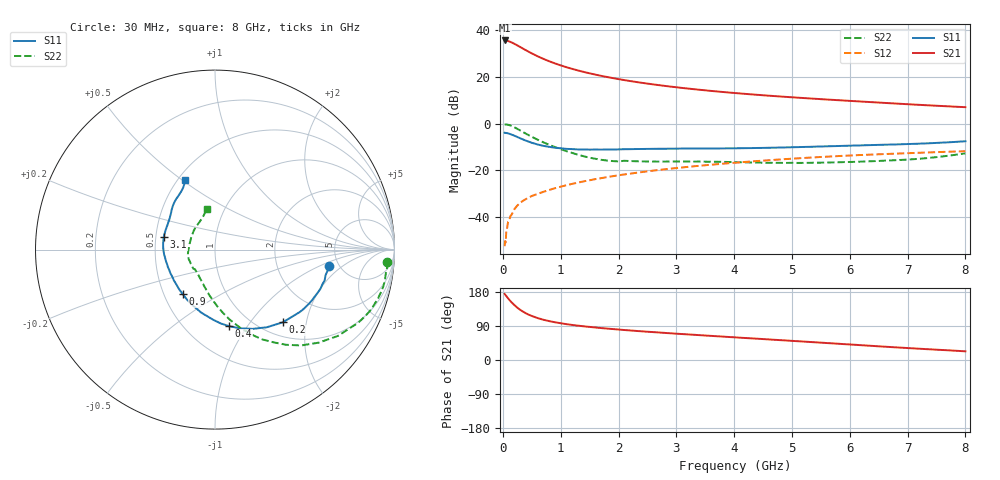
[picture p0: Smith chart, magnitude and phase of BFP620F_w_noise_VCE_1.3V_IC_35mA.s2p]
! Infineon Technologies  Discrete & RF Semiconductors
! BFP620F
! VCE =  1.3 V,  IC =  35 mA
! Common Emitter S-Parameters:  Dec 2014
# GHz  S  MA  R  50
!  f  S11  S21  S12  S22
! GHz  MAG  ANG  MAG  ANG  MAG  ANG  MAG  ANG
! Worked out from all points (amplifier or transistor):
!   95 points, 30 MHz to 8 GHz, reference 50 ohm
!   highest |S21| = 35.6 dB at 30 MHz (marker M1)
!   |S21| within 3 dB of that: start of sweep to 313.9 MHz
!   unconditionally stable (mu >= 1): 2.305 GHz to end of sweep
!   at 300 MHz: K = 0.42, MSG = 33.3 dB, |S12| = -33.9 dB
!   at 3.3 GHz: K = 1.02, MAG = 15.6 dB, |S12| = -18.2 dB
!   at 8 GHz: K = 1.05, MAG = 8.0 dB, |S12| = -11.8 dB
!   lowest NFmin = 1.25 dB at 450 MHz
!   S11 on the Smith chart (normalised r, x): 30 MHz: 4.17, -1.26; 200 MHz: 1.26, -1.47; 400 MHz: 0.79, -0.83; 900 MHz: 0.62, -0.34; 3.1 GHz: 0.55, +0.08; 8 GHz: 0.54, +0.51
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0.03  0.6413 -8.0  60.45 174.4  0.0024 92.9  0.9607 -4.1
0.07  0.629 -17.8  59.7 166.6  0.0055 84.7  0.9601 -12.3
0.12  0.6043 -29.9  56.85 157.2  0.0095 78.7  0.9268 -21.9
0.15  0.5857 -36.6  54.96 152.3  0.0113 76.1  0.8947 -27.2
0.2  0.5543 -46.9  51.18 144.8  0.0149 72.8  0.8365 -35.1
0.25  0.5202 -56.3  47.43 138.1  0.0178 69.9  0.7763 -41.9
0.3  0.4885 -64.7  43.8 132.3  0.0203 67.3  0.7176 -48.1
0.35  0.4595 -72.5  40.3 127.5  0.0225 66.5  0.6613 -53.3
0.4  0.4337 -79.6  37.27 123.1  0.0245 65.5  0.6103 -57.8
0.5  0.391 -91.5  31.96 116.2  0.0284 64.2  0.526 -65.7
0.6  0.3598 -102.2  27.76 110.7  0.0315 63.4  0.4555 -72.3
0.7  0.3363 -111.0  24.44 106.2  0.0349 63.4  0.4001 -78.0
0.9  0.3061 -125.9  19.53 99.6  0.0417 63.4  0.3168 -87.6
1.1  0.2898 -138.0  16.17 94.6  0.0483 63.6  0.2585 -96.6
1.4  0.2813 -152.1  12.82 88.9  0.0585 63.5  0.2012 -109.6
2  0.2825 -171.8  9.009 80.4  0.0789 62.1  0.1563 -135.8
2.7  0.2911 173.2  6.688 72.6  0.1026 59.0  0.1546 -154.4
3.1  0.2939 166.4  5.833 68.5  0.116 56.9  0.1549 -161.5
4.1  0.2989 151.9  4.443 58.9  0.1492 50.9  0.1499 -175.8
5.4  0.3232 138.8  3.418 46.7  0.1911 41.9  0.1466 158.9
6.7  0.358 126.2  2.745 34.3  0.2268 32.0  0.164 131.4
8  0.4216 113.3  2.258 22.9  0.2581 22.5  0.2319 100.9
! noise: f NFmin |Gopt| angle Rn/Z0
0.45  1.25  0.11  -173  0.16
0.9  1.28  0.11  -172  0.13
1.5  1.29  0.16  -150  0.12
1.8  1.3  0.16  -150  0.13
1.9  1.3  0.16  -149  0.13
2.4  1.32  0.17  215  0.15
3.5  1.38  0.18  220  0.18
5.5  1.52  0.24  245  0.15
6  1.56  0.25  260  0.17
